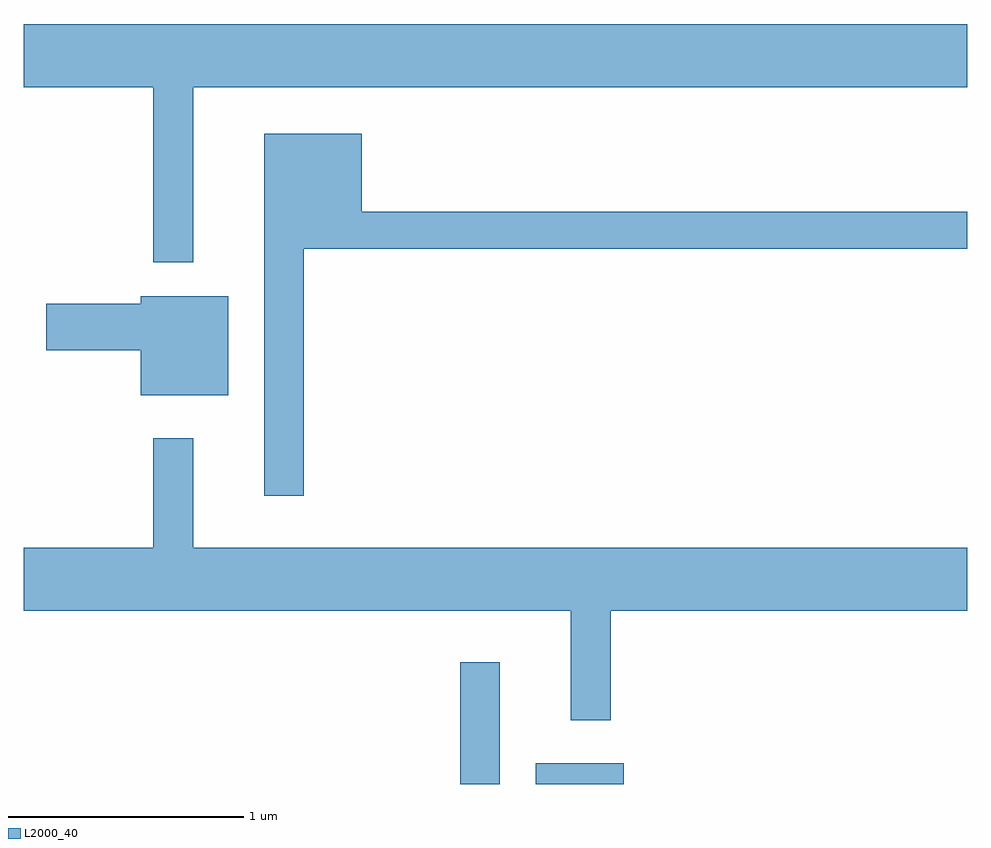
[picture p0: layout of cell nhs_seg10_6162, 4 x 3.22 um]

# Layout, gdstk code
import gdstk
lib = gdstk.Library(unit=1e-6, precision=1e-09)
def R(c, l, rs):  # rectangles x0, y0, x1, y1
    for r in rs: c.add(gdstk.rectangle(r[:2], r[2:], *l))
def P(c, l, *ps):  # polygons
    for p in ps: c.add(gdstk.Polygon(p, *l))
L2000_40 = (2000, 40)

nhs_seg10_6162 = lib.new_cell('nhs_seg10_6162')
R(nhs_seg10_6162, L2000_40, [(369.461,2106.522,369.629,2107.038), (369.781,2106.522,370.154,2106.609)])
P(nhs_seg10_6162, L2000_40, [(368.329,2109.476),(371.611,2109.476),(371.611,2109.744),(367.611,2109.744),(367.611,2109.476),(368.161,2109.476),(368.161,2108.733),(368.329,2108.733)],
  [(368.799,2108.791),(371.611,2108.791),(371.611,2108.949),(369.044,2108.949),(369.044,2109.279),(368.631,2109.279),(368.631,2107.743),(368.799,2107.743)],
  [(368.479,2108.589),(368.106,2108.589),(368.106,2108.559),(367.706,2108.559),(367.706,2108.361),(368.106,2108.361),(368.106,2108.171),(368.479,2108.171)],
  [(370.099,2107.256),(371.611,2107.256),(371.611,2107.524),(368.329,2107.524),(368.329,2107.988),(368.161,2107.988),(368.161,2107.524),(367.611,2107.524),(367.611,2107.256),(369.931,2107.256),(369.931,2106.793),(370.099,2106.793)])

lib.write_gds('nhs_seg10_6162.gds')
